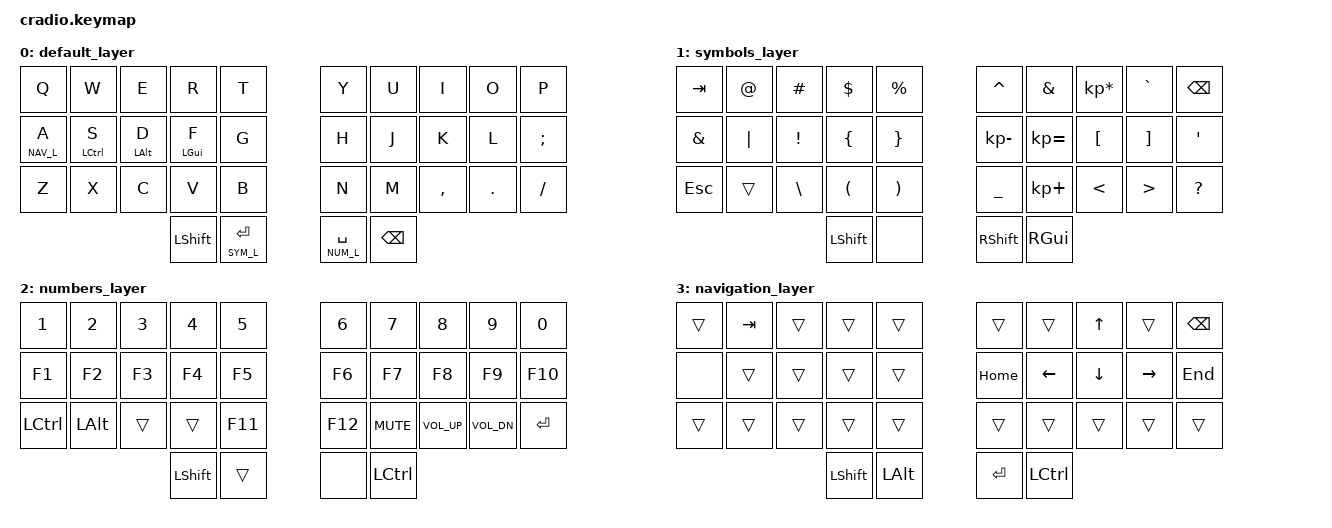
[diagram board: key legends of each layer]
/*
 * Copyright (c) 2020 The ZMK Contributors
 *
 * SPDX-License-Identifier: MIT
 */

#include <behaviors.dtsi>
#include <dt-bindings/zmk/keys.h>
#include <dt-bindings/zmk/bt.h>

#define SYM_L 1
#define NUM_L 2
#define NAV_L 3

&mt {
  //  flavor = "tap-preferred";
   // tapping_term_ms = <200>;
};

/ {
//&mt LCTRL Z -> LCTRL when held z when tapped
        keymap {
                compatible = "zmk,keymap";

       		default_layer {
		bindings = <
		&kp Q &kp W &kp E &kp R &kp T 										&kp Y &kp U  &kp I    &kp O   &kp P
		&lt NAV_L A &mt LCTRL S &mt LALT D &mt LGUI F 		&kp G 		&kp H &kp J &kp K &kp L &kp SEMI
		&kp Z &kp X &kp C &kp V &kp B											&kp N &kp M  &kp CMMA &kp DOT &kp SLASH
          				&kp LSHFT &lt SYM_L RET  						&lt NUM_L SPC &kp BSPC
		>;
		};

       		symbols_layer {
		bindings = <
		&kp TAB  &kp AT &kp HASH &kp DLLR &kp PRCNT			&kp CARET &kp AMPS &kp KP_ASTERISK &kp GRAVE &kp BSPC
		&kp AMPS &kp PIPE &kp EXCL &kp LBRC &kp RBRC 			&kp KP_MINUS &kp KP_EQUAL &kp LBKT &kp RBKT &kp APOS
		&kp ESC &trans &kp BSLH &kp LPAR &kp RPAR 			&kp UNDER &kp KP_PLUS &kp LT &kp GT  &kp QMARK
					    &kp LSHFT  &none  			&kp RSHFT &kp RGUI
		>;
		};

		numbers_layer {
		bindings = <
		&kp NUM_1 &kp NUM_2 &kp NUM_3 &kp NUM_4 &kp NUM_5    		&kp NUM_6 &kp NUM_7 &kp NUM_8 &kp NUM_9 &kp NUM_0
		&kp F1 &kp F2 &kp F3 &kp F4 &kp F5 				&kp F6 &kp F7 &kp F8 &kp F9 &kp F10
		&kp LCTRL &kp LALT &trans &trans &kp F11    			&kp F12 &kp C_MUTE &kp C_VOL_UP &kp C_VOL_DN &kp RET
					  &kp LSHFT &trans  			&none &kp LCTRL
		>;
		};

		navigation_layer {
		bindings = <
		&trans &kp TAB &trans &trans &trans 				&trans &trans &kp UP &trans &kp BSPC
		&none &trans &trans &trans &trans  				&kp HOME &kp LEFT &kp DOWN &kp RIGHT &kp END
		&trans &trans &trans &trans &trans   				&trans &trans &trans &trans &trans
					 &kp LSHFT &kp LALT  			&kp RET &kp LCTRL
		>;
		};

	};
};
